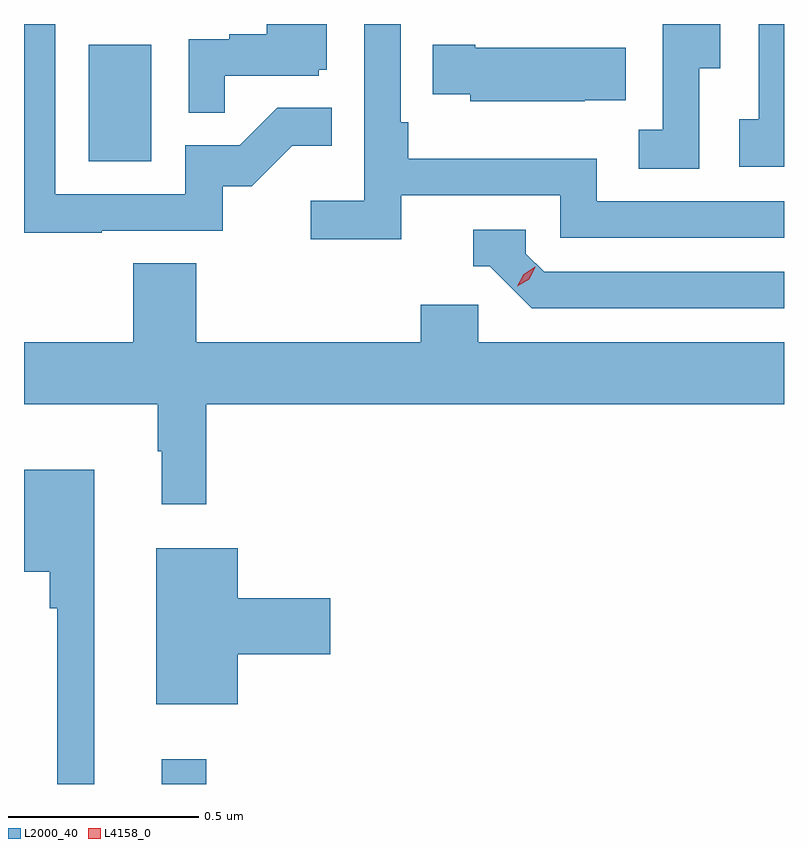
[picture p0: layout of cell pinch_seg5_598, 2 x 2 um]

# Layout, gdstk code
import gdstk
lib = gdstk.Library(unit=1e-6, precision=1e-09)
def R(c, l, rs):  # rectangles x0, y0, x1, y1
    for r in rs: c.add(gdstk.rectangle(r[:2], r[2:], *l))
def P(c, l, *ps):  # polygons
    for p in ps: c.add(gdstk.Polygon(p, *l))
L2000_40 = (2000, 40)
L4158_0 = (4158, 0)

pinch_seg5_598 = lib.new_cell('pinch_seg5_598')
R(pinch_seg5_598, L2000_40, [(1124.996,862.421,1125.113,862.486), (1124.804,864.06,1124.968,864.367)])
P(pinch_seg5_598, L2000_40, [(1126.41,864.304),(1126.465,864.304),(1126.465,864.421),(1126.314,864.421),(1126.314,864.143),(1126.251,864.143),(1126.251,864.04),(1126.41,864.04)],
  [(1124.837,863.877),(1125.156,863.877),(1125.156,863.994),(1125.232,863.994),(1125.339,864.101),(1125.443,864.101),(1125.443,864.2),(1125.299,864.2),(1125.201,864.102),(1125.057,864.102),(1125.057,863.973),(1124.715,863.973),(1124.715,864.421),(1124.633,864.421),(1124.633,863.872),(1124.837,863.872)],
  [(1125.626,863.97),(1126.044,863.97),(1126.044,863.859),(1126.633,863.859),(1126.633,863.955),(1126.14,863.955),(1126.14,864.067),(1125.644,864.067),(1125.644,864.163),(1125.624,864.163),(1125.624,864.421),(1125.528,864.421),(1125.528,863.956),(1125.387,863.956),(1125.387,863.854),(1125.626,863.854)],
  [(1126.633,864.421),(1126.566,864.421),(1126.566,864.17),(1126.515,864.17),(1126.515,864.045),(1126.633,864.045)],
  [(1125.161,864.285),(1125.408,864.285),(1125.408,864.3),(1125.43,864.3),(1125.43,864.421),(1125.272,864.421),(1125.272,864.394),(1125.173,864.394),(1125.173,864.381),(1125.066,864.381),(1125.066,864.187),(1125.161,864.187)],
  [(1126.109,864.221),(1126.217,864.221),(1126.217,864.358),(1125.82,864.358),(1125.82,864.366),(1125.709,864.366),(1125.709,864.236),(1125.807,864.236),(1125.807,864.218),(1126.109,864.218)],
  [(1126.633,863.769),(1126.002,863.769),(1125.954,863.817),(1125.954,863.88),(1125.815,863.88),(1125.815,863.784),(1125.858,863.784),(1125.969,863.673),(1126.633,863.673)],
  [(1125.113,863.42),(1126.633,863.42),(1126.633,863.584),(1125.828,863.584),(1125.828,863.682),(1125.677,863.682),(1125.677,863.584),(1125.086,863.584),(1125.086,863.792),(1124.921,863.792),(1124.921,863.584),(1124.633,863.584),(1124.633,863.42),(1124.985,863.42),(1124.985,863.297),(1124.996,863.297),(1124.996,863.157),(1125.113,863.157)],
  [(1124.818,863.248),(1124.633,863.248),(1124.633,862.979),(1124.701,862.979),(1124.701,862.883),(1124.721,862.883),(1124.721,862.421),(1124.818,862.421)],
  [(1125.196,862.763),(1125.439,862.763),(1125.439,862.91),(1125.196,862.91),(1125.196,863.041),(1124.981,863.041),(1124.981,862.631),(1125.196,862.631)])
P(pinch_seg5_598, L4158_0, [(1125.931,863.731),(1125.931,863.731),(1125.948,863.763),(1125.979,863.782),(1125.979,863.782),(1125.979,863.782),(1125.962,863.749),(1125.931,863.731)])

lib.write_gds('pinch_seg5_598.gds')
